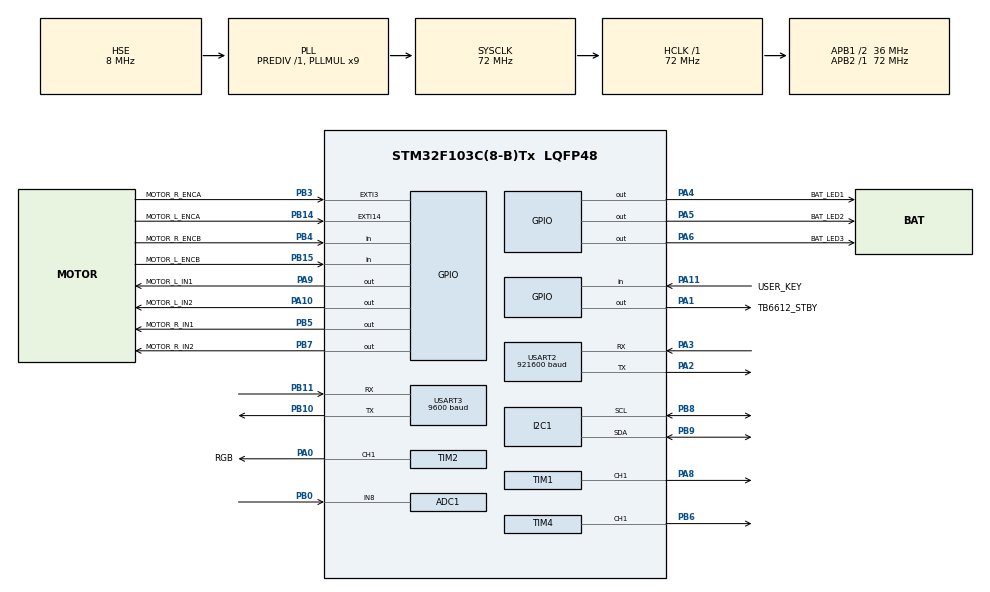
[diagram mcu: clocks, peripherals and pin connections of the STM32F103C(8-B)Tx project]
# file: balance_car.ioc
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ADC1.Channel-1\#ChannelInjectedConversion=ADC_CHANNEL_8
ADC1.EnableInjectedConversion=ENABLE
ADC1.EnableRegularConversion=DISABLE
ADC1.ExternalTrigInjecConv=ADC_INJECTED_SOFTWARE_START
ADC1.InjNumberOfConversion=1
ADC1.InjectedOffset-1\#ChannelInjectedConversion=0
ADC1.InjectedRank-1\#ChannelInjectedConversion=1
ADC1.SamplingTime-1\#ChannelInjectedConversion=ADC_SAMPLETIME_1CYCLE_5
ADC1.master=1
Dma.Request0=TIM2_CH1
Dma.TIM2_CH1.0.Direction=DMA_MEMORY_TO_PERIPH
Dma.TIM2_CH1.0.Instance=DMA1_Channel5
Dma.TIM2_CH1.0.MemDataAlignment=DMA_MDATAALIGN_HALFWORD
Dma.TIM2_CH1.0.MemInc=DMA_MINC_ENABLE
Dma.TIM2_CH1.0.Mode=DMA_NORMAL
Dma.TIM2_CH1.0.PeriphDataAlignment=DMA_PDATAALIGN_HALFWORD
Dma.TIM2_CH1.0.PeriphInc=DMA_PINC_DISABLE
Dma.TIM2_CH1.0.Priority=DMA_PRIORITY_VERY_HIGH
Mcu.Family=STM32F1
Mcu.Name=STM32F103C(8-B)Tx
Mcu.Package=LQFP48
NVIC.ADC1_2_IRQn=true\:0\:0\:false\:false\:true\:true\:true\:true
NVIC.DMA1_Channel5_IRQn=true\:2\:0\:false\:false\:true\:true\:true\:true
NVIC.EXTI15_10_IRQn=true\:1\:0\:true\:false\:true\:true\:true\:true
NVIC.EXTI3_IRQn=true\:1\:0\:true\:false\:true\:true\:true\:true
NVIC.PriorityGroup=NVIC_PRIORITYGROUP_4
NVIC.USART2_IRQn=true\:0\:0\:false\:false\:true\:true\:true\:true
NVIC.USART3_IRQn=true\:0\:0\:false\:false\:true\:true\:true\:true
PA0-WKUP.GPIO_Label=RGB
PA0-WKUP.GPIO_Speed=GPIO_SPEED_FREQ_HIGH
PA0-WKUP.Signal=S_TIM2_CH1
PA1.GPIO_Label=TB6612_STBY
PA1.Signal=GPIO_Output
PA10.GPIO_Label=MOTOR_L_IN2
PA10.Signal=GPIO_Output
PA11.GPIO_Label=USER_KEY
PA11.GPIO_PuPd=GPIO_PULLUP
PA11.Signal=GPIO_Input
PA13.Mode=Serial_Wire
PA13.Signal=SYS_JTMS-SWDIO
PA14.Mode=Serial_Wire
PA14.Signal=SYS_JTCK-SWCLK
PA2.Mode=Asynchronous
PA2.Signal=USART2_TX
PA3.Mode=Asynchronous
PA3.Signal=USART2_RX
PA4.GPIO_Label=BAT_LED1
PA4.GPIO_PuPd=GPIO_NOPULL
PA4.Signal=GPIO_Output
PA5.GPIO_Label=BAT_LED2
PA5.Signal=GPIO_Output
PA6.GPIO_Label=BAT_LED3
PA6.Signal=GPIO_Output
PA8.Signal=S_TIM1_CH1
PA9.GPIO_Label=MOTOR_L_IN1
PA9.Signal=GPIO_Output
PB0.Signal=ADCx_IN8
PB10.Mode=Asynchronous
PB10.Signal=USART3_TX
PB11.Mode=Asynchronous
PB11.Signal=USART3_RX
PB14.GPIO_Label=MOTOR_L_ENCA
PB14.GPIO_ModeDefaultEXTI=GPIO_MODE_IT_RISING_FALLING
PB14.GPIO_PuPd=GPIO_PULLUP
PB14.Signal=GPXTI14
PB15.GPIO_Label=MOTOR_L_ENCB
PB15.GPIO_PuPd=GPIO_PULLUP
PB15.Signal=GPIO_Input
PB3.GPIO_Label=MOTOR_R_ENCA
PB3.GPIO_ModeDefaultEXTI=GPIO_MODE_IT_RISING_FALLING
PB3.GPIO_PuPd=GPIO_PULLUP
PB3.Signal=GPXTI3
PB4.GPIO_Label=MOTOR_R_ENCB
PB4.GPIO_PuPd=GPIO_PULLUP
PB4.Signal=GPIO_Input
PB5.GPIO_Label=MOTOR_R_IN1
PB5.Signal=GPIO_Output
PB6.Signal=S_TIM4_CH1
PB7.GPIO_Label=MOTOR_R_IN2
PB7.Signal=GPIO_Output
PB8.Mode=I2C
PB8.Signal=I2C1_SCL
PB9.Mode=I2C
PB9.Signal=I2C1_SDA
PD0-OSC_IN.Mode=HSE-External-Oscillator
PD0-OSC_IN.Signal=RCC_OSC_IN
PD1-OSC_OUT.Mode=HSE-External-Oscillator
PD1-OSC_OUT.Signal=RCC_OSC_OUT
ProjectManager.HeapSize=0x200
ProjectManager.StackSize=0x400
ProjectManager.TargetToolchain=CMake
RCC.ADCPresc=RCC_ADCPCLK2_DIV6
RCC.AHBFreq_Value=72000000
RCC.APB1CLKDivider=RCC_HCLK_DIV2
RCC.APB1Freq_Value=36000000
RCC.APB1TimFreq_Value=72000000
RCC.APB2Freq_Value=72000000
RCC.APB2TimFreq_Value=72000000
RCC.HCLKFreq_Value=72000000
RCC.PLLMUL=RCC_PLL_MUL9
RCC.PLLSourceVirtual=RCC_PLLSOURCE_HSE
RCC.SYSCLKFreq_VALUE=72000000
RCC.SYSCLKSource=RCC_SYSCLKSOURCE_PLLCLK
RCC.USBFreq_Value=72000000
SH.ADCx_IN8.0=ADC1_IN8,IN8
SH.S_TIM1_CH1.0=TIM1_CH1,PWM Generation1 CH1
SH.S_TIM2_CH1.0=TIM2_CH1,PWM Generation1 CH1
SH.S_TIM4_CH1.0=TIM4_CH1,PWM Generation1 CH1
TIM1.Channel-PWM\ Generation1\ CH1=TIM_CHANNEL_1
TIM1.Period=999
TIM2.Channel-PWM\ Generation1\ CH1=TIM_CHANNEL_1
TIM2.Period=89
TIM2.Prescaler=0
TIM2.TIM_MasterOutputTrigger=TIM_TRGO_RESET
TIM3.Period=65535
TIM3.Prescaler=71
TIM4.Channel-PWM\ Generation1\ CH1=TIM_CHANNEL_1
TIM4.Period=999
USART2.BaudRate=921600
USART2.VirtualMode=VM_ASYNC
USART3.BaudRate=9600
USART3.VirtualMode=VM_ASYNC
VP_TIM2_VS_ClockSourceINT.Mode=Internal
VP_TIM3_VS_ClockSourceINT.Mode=Internal
board=custom

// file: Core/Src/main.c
/* USER CODE BEGIN Header */
/**
  ******************************************************************************
  * @file           : main.c
  * @brief          : Main program body
  ******************************************************************************
  * @attention
  *
  * Copyright (c) 2026 STMicroelectronics.
  * All rights reserved.
  *
  * This software is licensed under terms that can be found in the LICENSE file
  * in the root directory of this software component.
  * If no LICENSE file comes with this software, it is provided AS-IS.
  *
  ******************************************************************************
  */
/* USER CODE END Header */
#include "main.h"
#include "adc.h"
#include "i2c.h"
#include "tim.h"
#include "usart.h"
#include "gpio.h"
#include "dma.h"

/* USER CODE BEGIN Includes */
#include "app_bat.h"
#include "app_usart2.h"
#include "app_pwm.h"
#include "app_button.h"
#include "app_encoder.h"
#include "app_mpu6050.h"
#include "app_motor.h"
#include "app_control.h"
#include "app_rc.h"
#include "app_rgb.h"
#include "test_voltage.h"
#include "test_encoder.h"
#include "test_pwm.h"
#include "test_mpu6050.h"
/* USER CODE END Includes */

void SystemClock_Config(void);

int main(void)
{

  /* MCU Configuration--------------------------------------------------------*/

  /* Reset of all peripherals, Initializes the Flash interface and the Systick. */
  HAL_Init();

  /* Configure the system clock */
  SystemClock_Config();

  /* Initialize all configured peripherals */
  MX_GPIO_Init();
  MX_DMA_Init();
  MX_ADC1_Init();
  MX_TIM2_Init();
  MX_USART2_UART_Init();
  MX_TIM1_Init();
  MX_TIM4_Init();
  MX_TIM3_Init();
  MX_I2C1_Init();
  MX_USART3_UART_Init();
  /* USER CODE BEGIN 2 */
  // 初始化彩灯DMA；呼吸效果由主循环中的App_RGB_Proc更新。
  uint8_t rgb_ok = App_RGB_Init();
  if (rgb_ok == 0u)
  {
      App_USART2_SendString("RGB init failed\r\n");
  }
  // 1. 启动电池采样，并通过串口发送启动信息。
  App_Bat_Init();
  App_USART2_SendString(
    "Balance Car Start!\r\n"
);
  // 2. 启动电机 PWM、按键和编码器模块；TIM3 提供微秒计时。
  App_PWM_Init();
  App_Button_Init();
  App_Encoder_Init();
  HAL_TIM_Base_Start(&htim3);
  // 3. 初始化轮速 PI、MPU6050 和平衡控制。
  App_Motor_Init();
  APP_MPU6050_Init();
  App_Control_Init();
  App_RC_Init();

  // Encoder_T_Method_Test();
  //Test_MPU6050_Init();
  //Test_EularAngleTest();

  /* USER CODE END 2 */

  /* Infinite loop */
  /* USER CODE BEGIN WHILE */
  while (1)
  {

    App_Bat_Proc();        // 每10ms启动一次电池ADC采样。
    App_Bat_LED_Process(); // 根据电池电压更新指示灯。
    App_Button_Proc();     // 扫描按键，处理电机启停。
    App_Motor_Proc();      // 用编码器反馈更新轮速 PI 和 PWM。
    APP_MPU6050_Proc();    // 采集 IMU 数据并更新姿态角。
    App_Control_Proc();    // 根据姿态计算下一次使用的目标轮速。
    App_RC_Proc();         // 处理遥控器输入。
    App_RGB_Proc();        // 每20ms更新五灯呼吸，DMA异步发送。

    /* USER CODE END WHILE */

  }
}

void SystemClock_Config(void)
{
  RCC_OscInitTypeDef RCC_OscInitStruct = {0};
  RCC_ClkInitTypeDef RCC_ClkInitStruct = {0};
  RCC_PeriphCLKInitTypeDef PeriphClkInit = {0};

  /** Initializes the RCC Oscillators according to the specified parameters
  * in the RCC_OscInitTypeDef structure.
  */
  RCC_OscInitStruct.OscillatorType = RCC_OSCILLATORTYPE_HSE;
  RCC_OscInitStruct.HSEState = RCC_HSE_ON;
  RCC_OscInitStruct.HSEPredivValue = RCC_HSE_PREDIV_DIV1;
  RCC_OscInitStruct.HSIState = RCC_HSI_ON;
  RCC_OscInitStruct.PLL.PLLState = RCC_PLL_ON;
  RCC_OscInitStruct.PLL.PLLSource = RCC_PLLSOURCE_HSE;
  RCC_OscInitStruct.PLL.PLLMUL = RCC_PLL_MUL9;
  if (HAL_RCC_OscConfig(&RCC_OscInitStruct) != HAL_OK)
  {
    Error_Handler();
  }

  /** Initializes the CPU, AHB and APB buses clocks
  */
  RCC_ClkInitStruct.ClockType = RCC_CLOCKTYPE_HCLK|RCC_CLOCKTYPE_SYSCLK
                              |RCC_CLOCKTYPE_PCLK1|RCC_CLOCKTYPE_PCLK2;
  RCC_ClkInitStruct.SYSCLKSource = RCC_SYSCLKSOURCE_PLLCLK;
  RCC_ClkInitStruct.AHBCLKDivider = RCC_SYSCLK_DIV1;
  RCC_ClkInitStruct.APB1CLKDivider = RCC_HCLK_DIV2;
  RCC_ClkInitStruct.APB2CLKDivider = RCC_HCLK_DIV1;

  if (HAL_RCC_ClockConfig(&RCC_ClkInitStruct, FLASH_LATENCY_2) != HAL_OK)
  {
    Error_Handler();
  }
  PeriphClkInit.PeriphClockSelection = RCC_PERIPHCLK_ADC;
  PeriphClkInit.AdcClockSelection = RCC_ADCPCLK2_DIV6;
  if (HAL_RCCEx_PeriphCLKConfig(&PeriphClkInit) != HAL_OK)
  {
    Error_Handler();
  }
}

void Error_Handler(void)
{
  /* USER CODE BEGIN Error_Handler_Debug */
  // 关闭中断，停在死循环中等待调试或复位。
  __disable_irq();
  while (1)
  {
  }
  /* USER CODE END Error_Handler_Debug */
}
